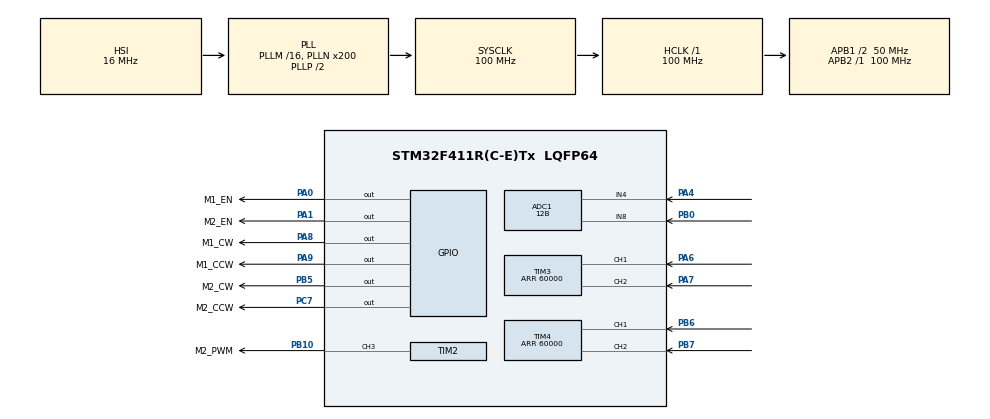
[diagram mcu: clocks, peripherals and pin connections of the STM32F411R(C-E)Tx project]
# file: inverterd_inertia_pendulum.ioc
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ADC1.Channel-0\#ChannelRegularConversion=ADC_CHANNEL_4
ADC1.Channel-1\#ChannelRegularConversion=ADC_CHANNEL_4
ADC1.ClockPrescaler=ADC_CLOCK_SYNC_PCLK_DIV4
ADC1.ContinuousConvMode=ENABLE
ADC1.DMAContinuousRequests=ENABLE
ADC1.DataAlign=ADC_DATAALIGN_RIGHT
ADC1.DiscontinuousConvMode=DISABLE
ADC1.EOCSelection=ADC_EOC_SINGLE_CONV
ADC1.EnableAnalogWatchDog=false
ADC1.ExternalTrigConv=ADC_SOFTWARE_START
ADC1.ExternalTrigConvEdge=ADC_EXTERNALTRIGCONVEDGE_NONE
ADC1.InjNumberOfConversion=0
ADC1.NbrOfConversion=2
ADC1.NbrOfConversionFlag=1
ADC1.Rank-0\#ChannelRegularConversion=1
ADC1.Rank-1\#ChannelRegularConversion=2
ADC1.Resolution=ADC_RESOLUTION_12B
ADC1.SamplingTime-0\#ChannelRegularConversion=ADC_SAMPLETIME_84CYCLES
ADC1.SamplingTime-1\#ChannelRegularConversion=ADC_SAMPLETIME_84CYCLES
ADC1.ScanConvMode=DISABLE
ADC1.master=1
Dma.ADC1.0.Direction=DMA_PERIPH_TO_MEMORY
Dma.ADC1.0.FIFOMode=DMA_FIFOMODE_DISABLE
Dma.ADC1.0.Instance=DMA2_Stream0
Dma.ADC1.0.MemDataAlignment=DMA_MDATAALIGN_WORD
Dma.ADC1.0.MemInc=DMA_MINC_ENABLE
Dma.ADC1.0.Mode=DMA_CIRCULAR
Dma.ADC1.0.PeriphDataAlignment=DMA_PDATAALIGN_WORD
Dma.ADC1.0.PeriphInc=DMA_PINC_DISABLE
Dma.ADC1.0.Priority=DMA_PRIORITY_LOW
Dma.Request0=ADC1
Mcu.Family=STM32F4
Mcu.Name=STM32F411R(C-E)Tx
Mcu.Package=LQFP64
NVIC.DMA2_Stream0_IRQn=true\:0\:0\:false\:false\:true\:false
NVIC.PriorityGroup=NVIC_PRIORITYGROUP_4
PA0-WKUP.GPIO_Label=M1_EN
PA0-WKUP.Signal=GPIO_Output
PA1.GPIO_Label=M2_EN
PA1.Signal=GPIO_Output
PA4.Signal=ADCx_IN4
PA6.Signal=S_TIM3_CH1
PA7.Signal=S_TIM3_CH2
PA8.GPIO_Label=M1_CW
PA8.Signal=GPIO_Output
PA9.GPIO_Label=M1_CCW
PA9.Signal=GPIO_Output
PB0.Signal=ADCx_IN8
PB10.GPIO_Label=M2_PWM
PB10.Signal=S_TIM2_CH3
PB5.GPIO_Label=M2_CW
PB5.Signal=GPIO_Output
PB6.GPIO_PuPd=GPIO_PULLUP
PB6.Signal=S_TIM4_CH1
PB7.GPIO_PuPd=GPIO_PULLUP
PB7.Signal=S_TIM4_CH2
PC7.GPIO_Label=M2_CCW
PC7.Signal=GPIO_Output
ProjectManager.HeapSize=0x200
ProjectManager.StackSize=0x400
ProjectManager.TargetToolchain=MDK-ARM V5
RCC.48MHZClocksFreq_Value=50000000
RCC.AHBFreq_Value=100000000
RCC.APB1CLKDivider=RCC_HCLK_DIV2
RCC.APB1Freq_Value=50000000
RCC.APB1TimFreq_Value=100000000
RCC.APB2Freq_Value=100000000
RCC.APB2TimFreq_Value=100000000
RCC.CortexFreq_Value=100000000
RCC.HCLKFreq_Value=100000000
RCC.HSE_VALUE=25000000
RCC.HSI_VALUE=16000000
RCC.LSE_VALUE=32768
RCC.PLLN=200
RCC.SYSCLKFreq_VALUE=100000000
RCC.SYSCLKSource=RCC_SYSCLKSOURCE_PLLCLK
RCC.VCOOutputFreq_Value=200000000
SH.ADCx_IN4.0=ADC1_IN4,IN4
SH.ADCx_IN8.0=ADC1_IN8,IN8
SH.S_TIM2_CH3.0=TIM2_CH3,PWM Generation3 CH3
SH.S_TIM3_CH1.0=TIM3_CH1,Encoder_Interface
SH.S_TIM3_CH2.0=TIM3_CH2,Encoder_Interface
SH.S_TIM4_CH1.0=TIM4_CH1,Encoder_Interface
SH.S_TIM4_CH2.0=TIM4_CH2,Encoder_Interface
TIM2.Channel-PWM\ Generation3\ CH3=TIM_CHANNEL_3
TIM2.Period=1000
TIM2.Prescaler=10
TIM3.ClockDivision=TIM_CLOCKDIVISION_DIV1
TIM3.EncoderMode=TIM_ENCODERMODE_TI12
TIM3.IC1Filter=0
TIM3.IC1Polarity=TIM_ICPOLARITY_FALLING
TIM3.IC1Prescaler=TIM_ICPSC_DIV1
TIM3.IC2Filter=0
TIM3.IC2Polarity=TIM_ICPOLARITY_RISING
TIM3.IC2Prescaler=TIM_ICPSC_DIV1
TIM3.Period=60000
TIM4.EncoderMode=TIM_ENCODERMODE_TI12
TIM4.IC1Filter=5
TIM4.IC1Polarity=TIM_ICPOLARITY_FALLING
TIM4.IC2Filter=5
TIM4.IC2Polarity=TIM_ICPOLARITY_FALLING
TIM4.Period=60000
board=custom

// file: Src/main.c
/**
  ******************************************************************************
  * @file           : main.c
  * @brief          : Main program body
  ******************************************************************************
  ** This notice applies to any and all portions of this file
  * that are not between comment pairs USER CODE BEGIN and
  * USER CODE END. Other portions of this file, whether
  * inserted by the user or by software development tools
  * are owned by their respective copyright owners.
  *
  * COPYRIGHT(c) 2019 STMicroelectronics
  *
  * Redistribution and use in source and binary forms, with or without modification,
  * are permitted provided that the following conditions are met:
  *   1. Redistributions of source code must retain the above copyright notice,
  *      this list of conditions and the following disclaimer.
  *   2. Redistributions in binary form must reproduce the above copyright notice,
  *      this list of conditions and the following disclaimer in the documentation
  *      and/or other materials provided with the distribution.
  *   3. Neither the name of STMicroelectronics nor the names of its contributors
  *      may be used to endorse or promote products derived from this software
  *      without specific prior written permission.
  *
  * THIS SOFTWARE IS PROVIDED BY THE COPYRIGHT HOLDERS AND CONTRIBUTORS "AS IS"
  * AND ANY EXPRESS OR IMPLIED WARRANTIES, INCLUDING, BUT NOT LIMITED TO, THE
  * IMPLIED WARRANTIES OF MERCHANTABILITY AND FITNESS FOR A PARTICULAR PURPOSE ARE
  * DISCLAIMED. IN NO EVENT SHALL THE COPYRIGHT HOLDER OR CONTRIBUTORS BE LIABLE
  * FOR ANY DIRECT, INDIRECT, INCIDENTAL, SPECIAL, EXEMPLARY, OR CONSEQUENTIAL
  * DAMAGES (INCLUDING, BUT NOT LIMITED TO, PROCUREMENT OF SUBSTITUTE GOODS OR
  * SERVICES; LOSS OF USE, DATA, OR PROFITS; OR BUSINESS INTERRUPTION) HOWEVER
  * CAUSED AND ON ANY THEORY OF LIABILITY, WHETHER IN CONTRACT, STRICT LIABILITY,
  * OR TORT (INCLUDING NEGLIGENCE OR OTHERWISE) ARISING IN ANY WAY OUT OF THE USE
  * OF THIS SOFTWARE, EVEN IF ADVISED OF THE POSSIBILITY OF SUCH DAMAGE.
  *
  ******************************************************************************
  */
#include "main.h"
#include "stm32f4xx_hal.h"

/* USER CODE BEGIN Includes */
#include "pendulum.h"
#include <math.h>
/* USER CODE END Includes */

ADC_HandleTypeDef hadc1;
DMA_HandleTypeDef hdma_adc1;

TIM_HandleTypeDef htim2;
TIM_HandleTypeDef htim3;
TIM_HandleTypeDef htim4;

/* USER CODE BEGIN PV */
/* Private variables ---------------------------------------------------------*/
float counter,count;

#define ADC_BUFF_SIZE 2
uint32_t adcbuff[2];
/* USER CODE END PV */

void SystemClock_Config(void);
static void MX_GPIO_Init(void);
static void MX_DMA_Init(void);
static void MX_TIM2_Init(void);
static void MX_ADC1_Init(void);
static void MX_TIM4_Init(void);
static void MX_TIM3_Init(void);

void HAL_TIM_MspPostInit(TIM_HandleTypeDef *htim);

/* USER CODE BEGIN PFP */
/* Private function prototypes -----------------------------------------------*/

/* USER CODE END PFP */

/* USER CODE BEGIN 0 */
void Controller_SysTick(){
	static int n_m,n_p;

	if(n_m >= (M_Ts*1000)){
		// gather state variables
		motor_variables_iter();
		n_m=0;
	}else{
		n_m++;
	}
	if(n_p >= (P_Ts*1000)){
		pendulum_variables_iter();

		if(fabs(pendulum.position) < P_SWITCH_ANGLE){
			pendulum_LQR();
			//pendulum_P();
		}else{
			pendulum_swingup();
			//pendulum_disable();
		}
		n_p = 0;
	}else{
		n_p++;
	}
}
/* USER CODE END 0 */

int main(void)
{

  /* MCU Configuration----------------------------------------------------------*/

  /* Reset of all peripherals, Initializes the Flash interface and the Systick. */
  HAL_Init();

  /* Configure the system clock */
  SystemClock_Config();

  /* Initialize all configured peripherals */
  MX_GPIO_Init();
  MX_DMA_Init();
  MX_TIM2_Init();
  MX_ADC1_Init();
  MX_TIM4_Init();
  MX_TIM3_Init();
  /* USER CODE BEGIN 2 */

	// init encoders
	HAL_TIM_Encoder_Start(&htim4,TIM_CHANNEL_ALL);
	HAL_TIM_Encoder_Start(&htim3,TIM_CHANNEL_ALL);

	// init PWM
	HAL_TIM_PWM_Start(&htim2,TIM_CHANNEL_3);

  /* USER CODE END 2 */

  /* Infinite loop */
  /* USER CODE BEGIN WHILE */
  while (1)
  {

		// no code in while loop, everything is in the function SysTick_Handler() in the stm32f4xx_it.c
  /* USER CODE END WHILE */

  }

}

void SystemClock_Config(void)
{

  RCC_OscInitTypeDef RCC_OscInitStruct;
  RCC_ClkInitTypeDef RCC_ClkInitStruct;

    /**Configure the main internal regulator output voltage
    */
  __HAL_RCC_PWR_CLK_ENABLE();

  __HAL_PWR_VOLTAGESCALING_CONFIG(PWR_REGULATOR_VOLTAGE_SCALE1);

    /**Initializes the CPU, AHB and APB busses clocks
    */
  RCC_OscInitStruct.OscillatorType = RCC_OSCILLATORTYPE_HSI;
  RCC_OscInitStruct.HSIState = RCC_HSI_ON;
  RCC_OscInitStruct.HSICalibrationValue = 16;
  RCC_OscInitStruct.PLL.PLLState = RCC_PLL_ON;
  RCC_OscInitStruct.PLL.PLLSource = RCC_PLLSOURCE_HSI;
  RCC_OscInitStruct.PLL.PLLM = 16;
  RCC_OscInitStruct.PLL.PLLN = 200;
  RCC_OscInitStruct.PLL.PLLP = RCC_PLLP_DIV2;
  RCC_OscInitStruct.PLL.PLLQ = 4;
  if (HAL_RCC_OscConfig(&RCC_OscInitStruct) != HAL_OK)
  {
    _Error_Handler(__FILE__, __LINE__);
  }

    /**Initializes the CPU, AHB and APB busses clocks
    */
  RCC_ClkInitStruct.ClockType = RCC_CLOCKTYPE_HCLK|RCC_CLOCKTYPE_SYSCLK
                              |RCC_CLOCKTYPE_PCLK1|RCC_CLOCKTYPE_PCLK2;
  RCC_ClkInitStruct.SYSCLKSource = RCC_SYSCLKSOURCE_PLLCLK;
  RCC_ClkInitStruct.AHBCLKDivider = RCC_SYSCLK_DIV1;
  RCC_ClkInitStruct.APB1CLKDivider = RCC_HCLK_DIV2;
  RCC_ClkInitStruct.APB2CLKDivider = RCC_HCLK_DIV1;

  if (HAL_RCC_ClockConfig(&RCC_ClkInitStruct, FLASH_LATENCY_3) != HAL_OK)
  {
    _Error_Handler(__FILE__, __LINE__);
  }

    /**Configure the Systick interrupt time
    */
  HAL_SYSTICK_Config(HAL_RCC_GetHCLKFreq()/1000);

    /**Configure the Systick
    */
  HAL_SYSTICK_CLKSourceConfig(SYSTICK_CLKSOURCE_HCLK);

  /* SysTick_IRQn interrupt configuration */
  HAL_NVIC_SetPriority(SysTick_IRQn, 0, 0);
}

/* ADC1 init function */
static void MX_ADC1_Init(void)
{

  ADC_ChannelConfTypeDef sConfig;

    /**Configure the global features of the ADC (Clock, Resolution, Data Alignment and number of conversion)
    */
  hadc1.Instance = ADC1;
  hadc1.Init.ClockPrescaler = ADC_CLOCK_SYNC_PCLK_DIV4;
  hadc1.Init.Resolution = ADC_RESOLUTION_12B;
  hadc1.Init.ScanConvMode = DISABLE;
  hadc1.Init.ContinuousConvMode = ENABLE;
  hadc1.Init.DiscontinuousConvMode = DISABLE;
  hadc1.Init.ExternalTrigConvEdge = ADC_EXTERNALTRIGCONVEDGE_NONE;
  hadc1.Init.ExternalTrigConv = ADC_SOFTWARE_START;
  hadc1.Init.DataAlign = ADC_DATAALIGN_RIGHT;
  hadc1.Init.NbrOfConversion = 2;
  hadc1.Init.DMAContinuousRequests = ENABLE;
  hadc1.Init.EOCSelection = ADC_EOC_SINGLE_CONV;
  if (HAL_ADC_Init(&hadc1) != HAL_OK)
  {
    _Error_Handler(__FILE__, __LINE__);
  }

    /**Configure for the selected ADC regular channel its corresponding rank in the sequencer and its sample time.
    */
  sConfig.Channel = ADC_CHANNEL_4;
  sConfig.Rank = 1;
  sConfig.SamplingTime = ADC_SAMPLETIME_84CYCLES;
  if (HAL_ADC_ConfigChannel(&hadc1, &sConfig) != HAL_OK)
  {
    _Error_Handler(__FILE__, __LINE__);
  }

    /**Configure for the selected ADC regular channel its corresponding rank in the sequencer and its sample time.
    */
  sConfig.Rank = 2;
  if (HAL_ADC_ConfigChannel(&hadc1, &sConfig) != HAL_OK)
  {
    _Error_Handler(__FILE__, __LINE__);
  }

}

/* TIM2 init function */
static void MX_TIM2_Init(void)
{

  TIM_MasterConfigTypeDef sMasterConfig;
  TIM_OC_InitTypeDef sConfigOC;

  htim2.Instance = TIM2;
  htim2.Init.Prescaler = 10;
  htim2.Init.CounterMode = TIM_COUNTERMODE_UP;
  htim2.Init.Period = 1000;
  htim2.Init.ClockDivision = TIM_CLOCKDIVISION_DIV1;
  if (HAL_TIM_PWM_Init(&htim2) != HAL_OK)
  {
    _Error_Handler(__FILE__, __LINE__);
  }

  sMasterConfig.MasterOutputTrigger = TIM_TRGO_RESET;
  sMasterConfig.MasterSlaveMode = TIM_MASTERSLAVEMODE_DISABLE;
  if (HAL_TIMEx_MasterConfigSynchronization(&htim2, &sMasterConfig) != HAL_OK)
  {
    _Error_Handler(__FILE__, __LINE__);
  }

  sConfigOC.OCMode = TIM_OCMODE_PWM1;
  sConfigOC.Pulse = 0;
  sConfigOC.OCPolarity = TIM_OCPOLARITY_HIGH;
  sConfigOC.OCFastMode = TIM_OCFAST_DISABLE;
  if (HAL_TIM_PWM_ConfigChannel(&htim2, &sConfigOC, TIM_CHANNEL_3) != HAL_OK)
  {
    _Error_Handler(__FILE__, __LINE__);
  }

  HAL_TIM_MspPostInit(&htim2);

}

/* TIM3 init function */
static void MX_TIM3_Init(void)
{

  TIM_Encoder_InitTypeDef sConfig;
  TIM_MasterConfigTypeDef sMasterConfig;

  htim3.Instance = TIM3;
  htim3.Init.Prescaler = 0;
  htim3.Init.CounterMode = TIM_COUNTERMODE_UP;
  htim3.Init.Period = 60000;
  htim3.Init.ClockDivision = TIM_CLOCKDIVISION_DIV1;
  sConfig.EncoderMode = TIM_ENCODERMODE_TI12;
  sConfig.IC1Polarity = TIM_ICPOLARITY_FALLING;
  sConfig.IC1Selection = TIM_ICSELECTION_DIRECTTI;
  sConfig.IC1Prescaler = TIM_ICPSC_DIV1;
  sConfig.IC1Filter = 0;
  sConfig.IC2Polarity = TIM_ICPOLARITY_RISING;
  sConfig.IC2Selection = TIM_ICSELECTION_DIRECTTI;
  sConfig.IC2Prescaler = TIM_ICPSC_DIV1;
  sConfig.IC2Filter = 0;
  if (HAL_TIM_Encoder_Init(&htim3, &sConfig) != HAL_OK)
  {
    _Error_Handler(__FILE__, __LINE__);
  }

  sMasterConfig.MasterOutputTrigger = TIM_TRGO_RESET;
  sMasterConfig.MasterSlaveMode = TIM_MASTERSLAVEMODE_DISABLE;
  if (HAL_TIMEx_MasterConfigSynchronization(&htim3, &sMasterConfig) != HAL_OK)
  {
    _Error_Handler(__FILE__, __LINE__);
  }

}

/* TIM4 init function */
static void MX_TIM4_Init(void)
{

  TIM_Encoder_InitTypeDef sConfig;
  TIM_MasterConfigTypeDef sMasterConfig;

  htim4.Instance = TIM4;
  htim4.Init.Prescaler = 0;
  htim4.Init.CounterMode = TIM_COUNTERMODE_UP;
  htim4.Init.Period = 60000;
  htim4.Init.ClockDivision = TIM_CLOCKDIVISION_DIV1;
  sConfig.EncoderMode = TIM_ENCODERMODE_TI12;
  sConfig.IC1Polarity = TIM_ICPOLARITY_FALLING;
  sConfig.IC1Selection = TIM_ICSELECTION_DIRECTTI;
  sConfig.IC1Prescaler = TIM_ICPSC_DIV1;
  sConfig.IC1Filter = 5;
  sConfig.IC2Polarity = TIM_ICPOLARITY_FALLING;
  sConfig.IC2Selection = TIM_ICSELECTION_DIRECTTI;
  sConfig.IC2Prescaler = TIM_ICPSC_DIV1;
  sConfig.IC2Filter = 5;
  if (HAL_TIM_Encoder_Init(&htim4, &sConfig) != HAL_OK)
  {
    _Error_Handler(__FILE__, __LINE__);
  }

  sMasterConfig.MasterOutputTrigger = TIM_TRGO_RESET;
  sMasterConfig.MasterSlaveMode = TIM_MASTERSLAVEMODE_DISABLE;
  if (HAL_TIMEx_MasterConfigSynchronization(&htim4, &sMasterConfig) != HAL_OK)
  {
    _Error_Handler(__FILE__, __LINE__);
  }

}

static void MX_DMA_Init(void)
{
  /* DMA controller clock enable */
  __HAL_RCC_DMA2_CLK_ENABLE();

  /* DMA interrupt init */
  /* DMA2_Stream0_IRQn interrupt configuration */
  HAL_NVIC_SetPriority(DMA2_Stream0_IRQn, 0, 0);
  HAL_NVIC_EnableIRQ(DMA2_Stream0_IRQn);

}

/** Configure pins as
        * Analog
        * Input
        * Output
        * EVENT_OUT
        * EXTI
*/
static void MX_GPIO_Init(void)
{

  GPIO_InitTypeDef GPIO_InitStruct;

  /* GPIO Ports Clock Enable */
  __HAL_RCC_GPIOA_CLK_ENABLE();
  __HAL_RCC_GPIOB_CLK_ENABLE();
  __HAL_RCC_GPIOC_CLK_ENABLE();

  /*Configure GPIO pin Output Level */
  HAL_GPIO_WritePin(GPIOA, M1_EN_Pin|M2_EN_Pin|M1_CW_Pin|M1_CCW_Pin, GPIO_PIN_RESET);

  /*Configure GPIO pin Output Level */
  HAL_GPIO_WritePin(M2_CCW_GPIO_Port, M2_CCW_Pin, GPIO_PIN_RESET);

  /*Configure GPIO pin Output Level */
  HAL_GPIO_WritePin(M2_CW_GPIO_Port, M2_CW_Pin, GPIO_PIN_RESET);

  /*Configure GPIO pins : M1_EN_Pin M2_EN_Pin M1_CW_Pin M1_CCW_Pin */
  GPIO_InitStruct.Pin = M1_EN_Pin|M2_EN_Pin|M1_CW_Pin|M1_CCW_Pin;
  GPIO_InitStruct.Mode = GPIO_MODE_OUTPUT_PP;
  GPIO_InitStruct.Pull = GPIO_NOPULL;
  GPIO_InitStruct.Speed = GPIO_SPEED_FREQ_LOW;
  HAL_GPIO_Init(GPIOA, &GPIO_InitStruct);

  /*Configure GPIO pin : M2_CCW_Pin */
  GPIO_InitStruct.Pin = M2_CCW_Pin;
  GPIO_InitStruct.Mode = GPIO_MODE_OUTPUT_PP;
  GPIO_InitStruct.Pull = GPIO_NOPULL;
  GPIO_InitStruct.Speed = GPIO_SPEED_FREQ_LOW;
  HAL_GPIO_Init(M2_CCW_GPIO_Port, &GPIO_InitStruct);

  /*Configure GPIO pin : M2_CW_Pin */
  GPIO_InitStruct.Pin = M2_CW_Pin;
  GPIO_InitStruct.Mode = GPIO_MODE_OUTPUT_PP;
  GPIO_InitStruct.Pull = GPIO_NOPULL;
  GPIO_InitStruct.Speed = GPIO_SPEED_FREQ_LOW;
  HAL_GPIO_Init(M2_CW_GPIO_Port, &GPIO_InitStruct);

}

void _Error_Handler(char *file, int line)
{
  while(1)
  {
  }
}

/************************ (C) COPYRIGHT STMicroelectronics *****END OF FILE****/
